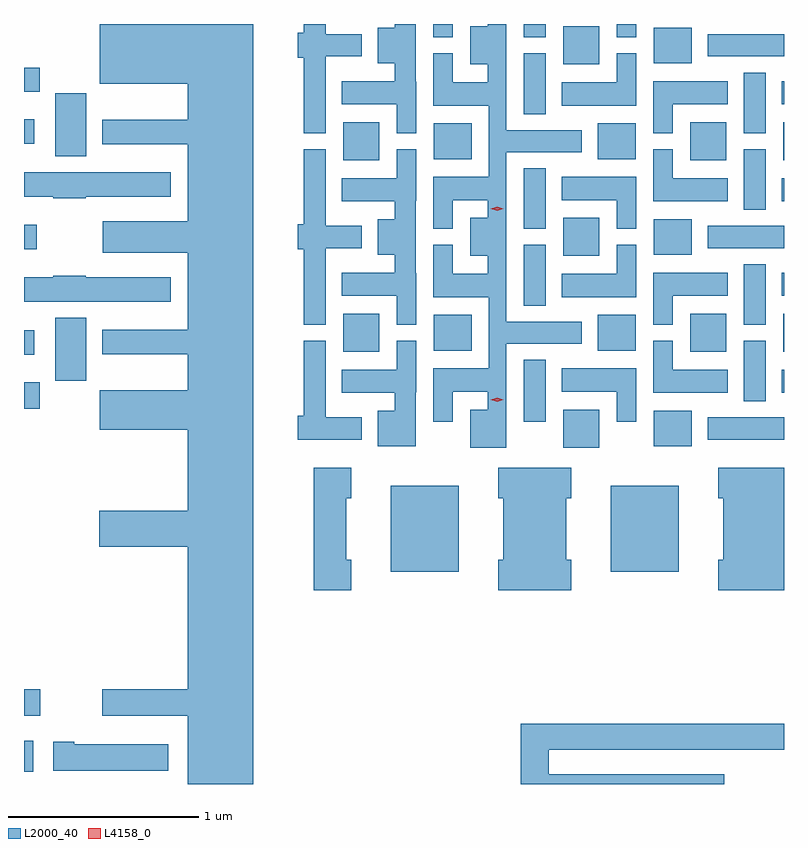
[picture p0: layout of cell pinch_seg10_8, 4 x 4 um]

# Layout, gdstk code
import gdstk
lib = gdstk.Library(unit=1e-6, precision=1e-09)
def R(c, l, rs):  # rectangles x0, y0, x1, y1
    for r in rs: c.add(gdstk.rectangle(r[:2], r[2:], *l))
def A(c, l, x, y, w, h, nx, ny, dx, dy):  # array of equal rectangles
    R(c, l, [(x+i*dx, y+j*dy, x+i*dx+w, y+j*dy+h) for i in range(nx) for j in range(ny)])
def P(c, l, *ps):  # polygons
    for p in ps: c.add(gdstk.Polygon(p, *l))
L2000_40 = (2000, 40)
L4158_0 = (4158, 0)

pinch_seg10_8 = lib.new_cell('pinch_seg10_8')
A(pinch_seg10_8, L2000_40, 1073.231, 1292.33, 0.191, 0.2, 1, 3, 0, 1.008)
A(pinch_seg10_8, L2000_40, 1073.708, 1292.336, 0.2, 0.188, 1, 3, 0, 1.008)
A(pinch_seg10_8, L2000_40, 1073.993, 1292.372, 0.401, 0.116, 1, 3, 0, 1.008)
R(pinch_seg10_8, L2000_40, [(1070.394,1290.623,1070.443,1290.787), (1070.394,1290.917,1070.479,1291.058), (1072.325,1291.676,1072.681,1292.128), (1073.483,1291.676,1073.839,1292.128), (1073.024,1292.466,1073.14,1292.791), (1070.394,1292.534,1070.476,1292.674), (1074.182,1292.573,1074.298,1292.892), (1074.383,1292.618,1074.394,1292.74), (1070.558,1292.682,1070.722,1293.013), (1070.394,1292.819,1070.449,1292.947), (1072.073,1292.834,1072.264,1293.034), (1073.9,1292.834,1074.091,1293.034), (1074.389,1292.834,1074.394,1293.034), (1072.55,1292.84,1072.75,1293.028), (1073.414,1292.84,1073.614,1293.028), (1074.182,1292.977,1074.298,1293.295), (1073.024,1293.077,1073.14,1293.396), (1074.383,1293.128,1074.394,1293.25), (1070.394,1293.374,1070.461,1293.502), (1073.024,1293.481,1073.14,1293.799), (1074.182,1293.581,1074.298,1293.9), (1074.383,1293.626,1074.394,1293.748), (1072.073,1293.842,1072.264,1294.042), (1073.9,1293.842,1074.091,1294.042), (1074.389,1293.842,1074.394,1294.042), (1072.55,1293.848,1072.75,1294.036), (1073.414,1293.848,1073.614,1294.036), (1070.558,1293.863,1070.722,1294.195), (1070.394,1293.929,1070.449,1294.057), (1074.182,1293.985,1074.298,1294.303), (1073.024,1294.085,1073.14,1294.404), (1074.383,1294.136,1074.394,1294.258), (1070.394,1294.202,1070.476,1294.33), (1072.547,1294.489,1072.651,1294.559), (1073.024,1294.489,1073.14,1294.559), (1073.513,1294.489,1073.617,1294.559)])
P(pinch_seg10_8, L2000_40, [(1072.931,1292.876),(1073.329,1292.876),(1073.329,1292.992),(1072.931,1292.992),(1072.931,1293.884),(1073.329,1293.884),(1073.329,1294),(1072.931,1294),(1072.931,1294.559),(1072.836,1294.559),(1072.836,1294.546),(1072.742,1294.546),(1072.742,1294.346),(1072.836,1294.346),(1072.836,1294.252),(1072.651,1294.252),(1072.651,1294.404),(1072.547,1294.404),(1072.547,1294.13),(1072.84,1294.13),(1072.84,1293.754),(1072.547,1293.754),(1072.547,1293.481),(1072.651,1293.481),(1072.651,1293.632),(1072.836,1293.632),(1072.836,1293.538),(1072.742,1293.538),(1072.742,1293.338),(1072.836,1293.338),(1072.836,1293.244),(1072.651,1293.244),(1072.651,1293.396),(1072.547,1293.396),(1072.547,1293.122),(1072.84,1293.122),(1072.84,1292.746),(1072.547,1292.746),(1072.547,1292.466),(1072.651,1292.466),(1072.651,1292.624),(1072.836,1292.624),(1072.836,1292.53),(1072.742,1292.53),(1072.742,1292.33),(1072.931,1292.33)],
  [(1071.601,1294.559),(1070.792,1294.559),(1070.792,1294.244),(1071.257,1294.244),(1071.257,1294.054),(1070.807,1294.054),(1070.807,1293.926),(1071.257,1293.926),(1071.257,1293.52),(1070.808,1293.52),(1070.808,1293.356),(1071.257,1293.356),(1071.257,1292.95),(1070.807,1292.95),(1070.807,1292.822),(1071.257,1292.822),(1071.257,1292.632),(1070.792,1292.632),(1070.792,1292.423),(1071.257,1292.423),(1071.257,1291.996),(1070.789,1291.996),(1070.789,1291.808),(1071.257,1291.808),(1071.257,1291.058),(1070.805,1291.058),(1070.805,1290.917),(1071.257,1290.917),(1071.257,1290.559),(1071.601,1290.559)],
  [(1072.459,1294.254),(1072.456,1294.254),(1072.456,1294.559),(1072.345,1294.559),(1072.345,1294.54),(1072.256,1294.54),(1072.256,1294.352),(1072.345,1294.352),(1072.345,1294.258),(1072.067,1294.258),(1072.067,1294.136),(1072.355,1294.136),(1072.355,1293.985),(1072.459,1293.985)],
  [(1071.982,1294.388),(1072.171,1294.388),(1072.171,1294.504),(1071.982,1294.504),(1071.982,1294.559),(1071.866,1294.559),(1071.866,1294.512),(1071.836,1294.512),(1071.836,1294.381),(1071.866,1294.381),(1071.866,1293.985),(1071.982,1293.985)],
  [(1073.617,1294.404),(1073.513,1294.404),(1073.513,1294.252),(1073.225,1294.252),(1073.225,1294.13),(1073.617,1294.13)],
  [(1073.809,1294.136),(1074.097,1294.136),(1074.097,1294.258),(1073.705,1294.258),(1073.705,1293.985),(1073.809,1293.985)],
  [(1074.097,1293.748),(1073.809,1293.748),(1073.809,1293.9),(1073.705,1293.9),(1073.705,1293.626),(1074.097,1293.626)],
  [(1071.982,1293.38),(1072.171,1293.38),(1072.171,1293.496),(1071.982,1293.496),(1071.982,1293.9),(1071.866,1293.9),(1071.866,1293.504),(1071.836,1293.504),(1071.836,1293.373),(1071.866,1293.373),(1071.866,1292.977),(1071.982,1292.977)],
  [(1072.459,1293.246),(1072.456,1293.246),(1072.456,1293.63),(1072.459,1293.63),(1072.459,1293.9),(1072.355,1293.9),(1072.355,1293.748),(1072.067,1293.748),(1072.067,1293.626),(1072.345,1293.626),(1072.345,1293.532),(1072.256,1293.532),(1072.256,1293.344),(1072.345,1293.344),(1072.345,1293.25),(1072.067,1293.25),(1072.067,1293.128),(1072.355,1293.128),(1072.355,1292.977),(1072.459,1292.977)],
  [(1070.72,1293.65),(1071.166,1293.65),(1071.166,1293.778),(1070.394,1293.778),(1070.394,1293.65),(1070.548,1293.65),(1070.548,1293.643),(1070.72,1293.643)],
  [(1073.617,1293.754),(1073.225,1293.754),(1073.225,1293.632),(1073.513,1293.632),(1073.513,1293.481),(1073.617,1293.481)],
  [(1073.617,1293.396),(1073.513,1293.396),(1073.513,1293.244),(1073.225,1293.244),(1073.225,1293.122),(1073.617,1293.122)],
  [(1073.809,1293.128),(1074.097,1293.128),(1074.097,1293.25),(1073.705,1293.25),(1073.705,1292.977),(1073.809,1292.977)],
  [(1071.166,1293.226),(1070.72,1293.226),(1070.72,1293.234),(1070.548,1293.234),(1070.548,1293.226),(1070.394,1293.226),(1070.394,1293.098),(1071.166,1293.098)],
  [(1074.097,1292.74),(1073.809,1292.74),(1073.809,1292.892),(1073.705,1292.892),(1073.705,1292.618),(1074.097,1292.618)],
  [(1072.171,1292.488),(1071.982,1292.488),(1071.982,1292.892),(1071.866,1292.892),(1071.866,1292.496),(1071.836,1292.496),(1071.836,1292.372),(1072.171,1292.372)],
  [(1072.456,1292.622),(1072.459,1292.622),(1072.459,1292.892),(1072.355,1292.892),(1072.355,1292.74),(1072.067,1292.74),(1072.067,1292.618),(1072.345,1292.618),(1072.345,1292.524),(1072.256,1292.524),(1072.256,1292.336),(1072.456,1292.336)],
  [(1073.617,1292.746),(1073.225,1292.746),(1073.225,1292.624),(1073.513,1292.624),(1073.513,1292.466),(1073.617,1292.466)],
  [(1073.275,1291.74),(1073.248,1291.74),(1073.248,1292.064),(1073.275,1292.064),(1073.275,1292.224),(1072.889,1292.224),(1072.889,1292.064),(1072.916,1292.064),(1072.916,1291.74),(1072.889,1291.74),(1072.889,1291.58),(1073.275,1291.58)],
  [(1074.394,1292.224),(1074.047,1292.224),(1074.047,1292.064),(1074.074,1292.064),(1074.074,1291.74),(1074.047,1291.74),(1074.047,1291.58),(1074.394,1291.58)],
  [(1072.117,1291.74),(1072.09,1291.74),(1072.09,1292.064),(1072.117,1292.064),(1072.117,1292.224),(1071.92,1292.224),(1071.92,1291.58),(1072.117,1291.58)],
  [(1074.079,1290.61),(1073.156,1290.61),(1073.156,1290.74),(1074.394,1290.74),(1074.394,1290.875),(1073.009,1290.875),(1073.009,1290.559),(1074.079,1290.559)],
  [(1071.154,1290.769),(1070.659,1290.769),(1070.659,1290.782),(1070.547,1290.782),(1070.547,1290.629),(1071.154,1290.629)])
P(pinch_seg10_8, L4158_0, [(1072.884,1293.577),(1072.851,1293.586),(1072.851,1293.587),(1072.851,1293.587),(1072.884,1293.597),(1072.916,1293.587),(1072.916,1293.587),(1072.916,1293.586)],
  [(1072.884,1292.571),(1072.851,1292.581),(1072.851,1292.581),(1072.851,1292.582),(1072.884,1292.591),(1072.916,1292.582),(1072.916,1292.581),(1072.916,1292.581)])

lib.write_gds('pinch_seg10_8.gds')
